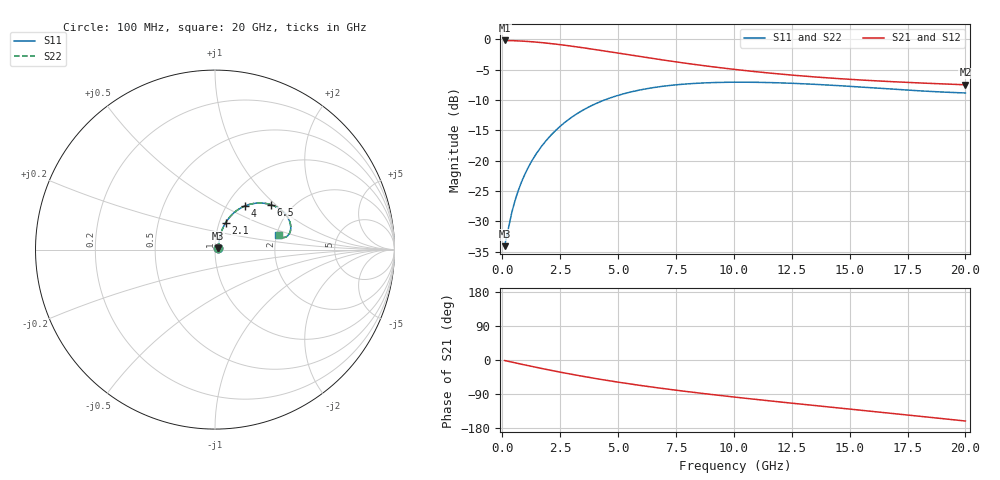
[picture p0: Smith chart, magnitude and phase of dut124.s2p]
! Touchstone file exported from HFSS 2024.1.0
!  File:  C:/UserFiles/LocalFiles/RDL_TSV_Batchsim/temp_RDL_TSV_124_1779425720.aedt
!  Generated:  01:09:49 PM May 22, 2026
!  Design:  RDL_TSV
!  Project:  temp_RDL_TSV_124_1779425720
!  Setup:  Setup1
!  Solution:  Sweep
! Variables:
!  dtsv = 6.24um
!  hbump = 3um
!  htsv = 56.15um
!  ldown = 144.47um
!  lrdl = 497.59um
!  p = 40
!  p1 = 48.64um
!  rhole = 10um
!  subl = 2423.77um
!  t = 450um
!  tdown = 3.09um
!  trdl = 3.89um
!  viad = 10um
!  wdown = 13.64um
!  wrdl = 13.44um
!  xbump = 18um
# GHz S MA R 50.000000
! Terminal data exported
! Port[1] = TM1_1_T1
! Port[2] = TM1_4_T1
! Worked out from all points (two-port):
!   200 points, 100 MHz to 20 GHz, reference 50 ohm
!   highest |S21| = -0.16 dB at 100 MHz (marker M1); lowest = -7.5 dB at 20 GHz (marker M2)
!   |S21| within 3 dB of the highest: start of sweep to 6.547 GHz
!   lowest |S11| = -34.1 dB at 100 MHz (marker M3), VSWR 1.04, Z = 51.8 + j0.812 ohm
!   |S11| at or under -10 dB: start of sweep to 4.405 GHz
!   |S22| runs from -34.1 to -7.0 dB; largest |S21 - S12| = 2.9e-14
!   S11 on the Smith chart (normalised r, x): 100 MHz: 1.04, +0.02; 2.1 GHz: 1.07, +0.33; 4 GHz: 1.21, +0.64; 6.5 GHz: 1.57, +0.93; 20 GHz: 2.04, +0.38
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0.1  0.01969 23.4  0.9819 -1.4  0.9819 -1.4  0.01969 23.4
! Gamma 0 0 0 0
! Port Impedance 50 0 50 0
0.3  0.03013 50.0  0.9801 -4.1  0.9801 -4.1  0.03013 50.0
0.5  0.04335 60.6  0.9772 -6.8  0.9772 -6.8  0.04335 60.6
0.7  0.05732 65.6  0.9735 -9.4  0.9735 -9.4  0.05732 65.6
0.9  0.07171 68.2  0.969 -12.1  0.969 -12.1  0.07171 68.3
1.1  0.08641 69.6  0.9635 -14.7  0.9635 -14.7  0.08641 69.6
1.4  0.1089 70.2  0.9539 -18.5  0.9539 -18.5  0.1089 70.2
1.7  0.1316 69.8  0.9426 -22.3  0.9426 -22.3  0.1316 69.9
2.1  0.1621 68.4  0.9255 -27.3  0.9255 -27.3  0.1621 68.4
2.8  0.2141 64.3  0.8912 -35.5  0.8912 -35.5  0.2141 64.3
3.5  0.2623 59.4  0.8539 -43.3  0.8539 -43.3  0.2623 59.4
4  0.2934 55.7  0.8265 -48.6  0.8265 -48.6  0.2935 55.7
5.1  0.3503 47.7  0.7669 -59.4  0.7669 -59.4  0.3504 47.7
6.5  0.4001 38.6  0.6973 -71.7  0.6973 -71.7  0.4004 38.6
6.8  0.4079 36.8  0.6836 -74.1  0.6836 -74.1  0.4081 36.8
8.4  0.4351 28.5  0.6189 -86.4  0.6189 -86.4  0.4355 28.5
10.1  0.4443 21.6  0.5644 -98.3  0.5644 -98.3  0.4447 21.6
11.7  0.4403 16.6  0.5248 -108.8  0.5248 -108.8  0.4409 16.6
13.4  0.4275 12.8  0.4924 -119.6  0.4924 -119.6  0.4282 12.8
16.7  0.3911 9.9  0.4499 -140.1  0.4499 -140.1  0.392 9.9
18.4  0.3734 10.8  0.4348 -150.8  0.4348 -150.8  0.3743 10.8
20  0.3621 13.0  0.4228 -161.0  0.4228 -161.0  0.363 12.9
